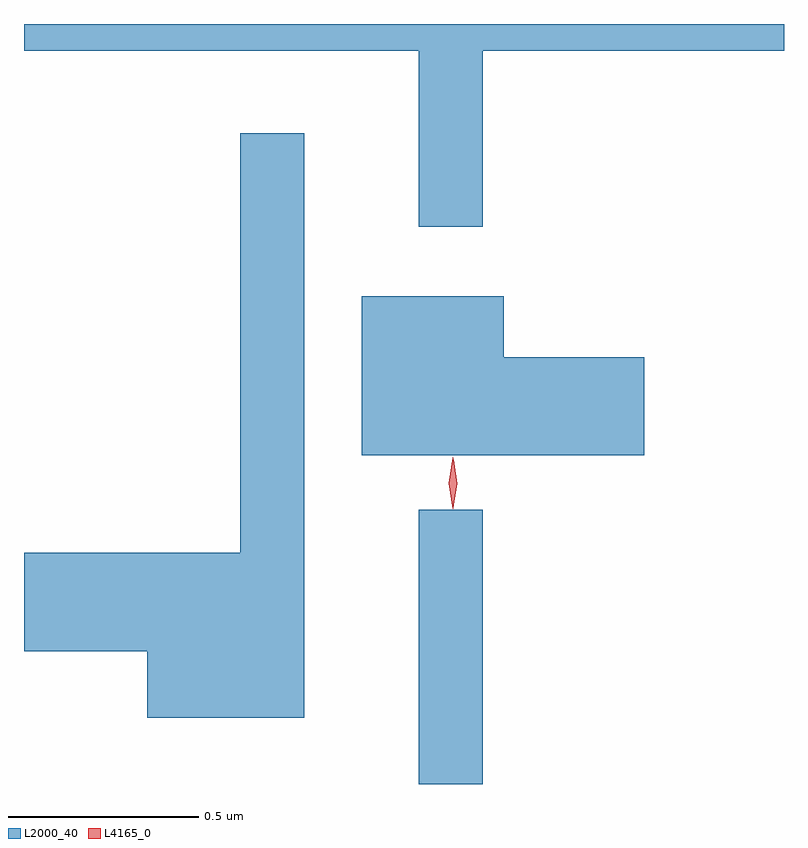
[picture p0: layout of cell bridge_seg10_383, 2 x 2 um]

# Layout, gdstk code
import gdstk
lib = gdstk.Library(unit=1e-6, precision=1e-09)
def R(c, l, rs):  # rectangles x0, y0, x1, y1
    for r in rs: c.add(gdstk.rectangle(r[:2], r[2:], *l))
def P(c, l, *ps):  # polygons
    for p in ps: c.add(gdstk.Polygon(p, *l))
L2000_40 = (2000, 40)
L4165_0 = (4165, 0)

bridge_seg10_383 = lib.new_cell('bridge_seg10_383')
R(bridge_seg10_383, L2000_40, [(1072.931,2171.926,1073.099,2172.648)])
P(bridge_seg10_383, L2000_40, [(1073.099,2173.856),(1073.892,2173.856),(1073.892,2173.926),(1071.892,2173.926),(1071.892,2173.856),(1072.931,2173.856),(1072.931,2173.393),(1073.099,2173.393)],
  [(1072.629,2173.638),(1072.461,2173.638),(1072.461,2172.534),(1071.892,2172.534),(1071.892,2172.276),(1072.216,2172.276),(1072.216,2172.101),(1072.629,2172.101)],
  [(1073.524,2173.049),(1073.154,2173.049),(1073.154,2173.209),(1072.781,2173.209),(1072.781,2172.791),(1073.524,2172.791)])
P(bridge_seg10_383, L4165_0, [(1073.02,2172.65),(1073.02,2172.65),(1073.01,2172.718),(1073.02,2172.785),(1073.02,2172.786),(1073.021,2172.785),(1073.03,2172.718),(1073.021,2172.65)],
  [(1073.02,2172.653),(1073.02,2172.653),(1073.012,2172.716),(1073.022,2172.779),(1073.022,2172.78),(1073.023,2172.779),(1073.032,2172.716),(1073.021,2172.653)])

lib.write_gds('bridge_seg10_383.gds')
